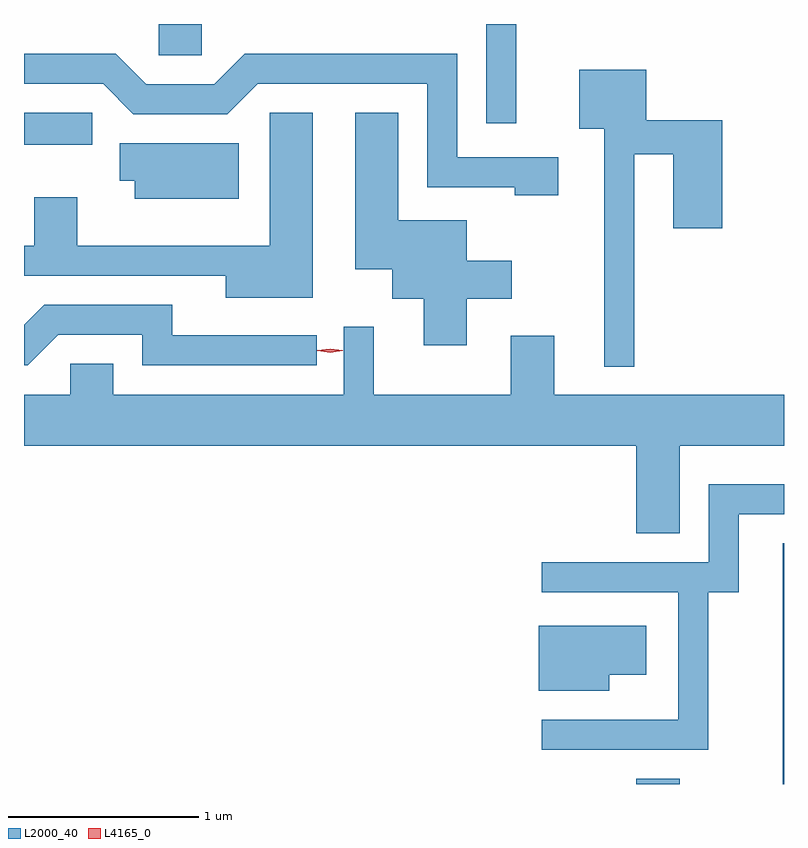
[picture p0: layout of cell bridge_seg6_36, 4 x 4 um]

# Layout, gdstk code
import gdstk
lib = gdstk.Library(unit=1e-6, precision=1e-09)
def R(c, l, rs):  # rectangles x0, y0, x1, y1
    for r in rs: c.add(gdstk.rectangle(r[:2], r[2:], *l))
def P(c, l, *ps):  # polygons
    for p in ps: c.add(gdstk.Polygon(p, *l))
L2000_40 = (2000, 40)
L4165_0 = (4165, 0)

bridge_seg6_36 = lib.new_cell('bridge_seg6_36')
R(bridge_seg6_36, L2000_40, [(1779.801,1605.976,1780.029,1606.004), (1780.571,1605.976,1780.578,1607.244), (1776.578,1609.341,1776.938,1609.509), (1779.011,1609.453,1779.169,1609.976), (1777.286,1609.811,1777.514,1609.976)])
P(bridge_seg6_36, L2000_40, [(1779.389,1609.274),(1778.859,1609.274),(1778.859,1609.819),(1777.739,1609.819),(1777.579,1609.659),(1777.222,1609.659),(1777.062,1609.819),(1776.578,1609.819),(1776.578,1609.661),(1776.994,1609.661),(1777.154,1609.501),(1777.647,1609.501),(1777.807,1609.661),(1778.701,1609.661),(1778.701,1609.116),(1779.161,1609.116),(1779.161,1609.076),(1779.389,1609.076)],
  [(1779.789,1609.291),(1779.996,1609.291),(1779.996,1608.901),(1780.254,1608.901),(1780.254,1609.469),(1779.854,1609.469),(1779.854,1609.734),(1779.501,1609.734),(1779.501,1609.426),(1779.631,1609.426),(1779.631,1608.173),(1779.789,1608.173)],
  [(1778.099,1609.509),(1777.871,1609.509),(1777.871,1608.809),(1776.859,1608.809),(1776.859,1609.064),(1776.631,1609.064),(1776.631,1608.809),(1776.578,1608.809),(1776.578,1608.651),(1777.641,1608.651),(1777.641,1608.536),(1778.099,1608.536)],
  [(1778.909,1608.531),(1779.144,1608.531),(1779.144,1608.729),(1778.909,1608.729),(1778.909,1608.944),(1778.549,1608.944),(1778.549,1609.509),(1778.321,1609.509),(1778.321,1608.686),(1778.516,1608.686),(1778.516,1608.531),(1778.681,1608.531),(1778.681,1608.286),(1778.909,1608.286)],
  [(1777.709,1609.349),(1777.081,1609.349),(1777.081,1609.151),(1777.161,1609.151),(1777.161,1609.056),(1777.709,1609.056)],
  [(1776.757,1608.341),(1777.201,1608.341),(1777.201,1608.181),(1778.118,1608.181),(1778.118,1608.339),(1777.359,1608.339),(1777.359,1608.499),(1776.684,1608.499),(1776.578,1608.393),(1776.578,1608.181),(1776.597,1608.181)],
  [(1780.029,1607.756),(1780.578,1607.756),(1780.578,1608.024),(1779.369,1608.024),(1779.369,1608.334),(1779.141,1608.334),(1779.141,1608.024),(1778.419,1608.024),(1778.419,1608.383),(1778.261,1608.383),(1778.261,1608.024),(1777.049,1608.024),(1777.049,1608.189),(1776.821,1608.189),(1776.821,1608.024),(1776.578,1608.024),(1776.578,1607.756),(1779.801,1607.756),(1779.801,1607.296),(1780.029,1607.296)],
  [(1780.179,1606.986),(1780.339,1606.986),(1780.339,1607.396),(1780.578,1607.396),(1780.578,1607.554),(1780.181,1607.554),(1780.181,1607.144),(1779.303,1607.144),(1779.303,1606.986),(1780.021,1606.986),(1780.021,1606.314),(1779.303,1606.314),(1779.303,1606.156),(1780.179,1606.156)],
  [(1779.659,1606.551),(1779.854,1606.551),(1779.854,1606.809),(1779.286,1606.809),(1779.286,1606.466),(1779.659,1606.466)])
P(bridge_seg6_36, L4165_0, [(1778.189,1608.247),(1778.122,1608.257),(1778.122,1608.257),(1778.122,1608.258),(1778.189,1608.267),(1778.255,1608.258),(1778.256,1608.257),(1778.255,1608.257)])

lib.write_gds('bridge_seg6_36.gds')
